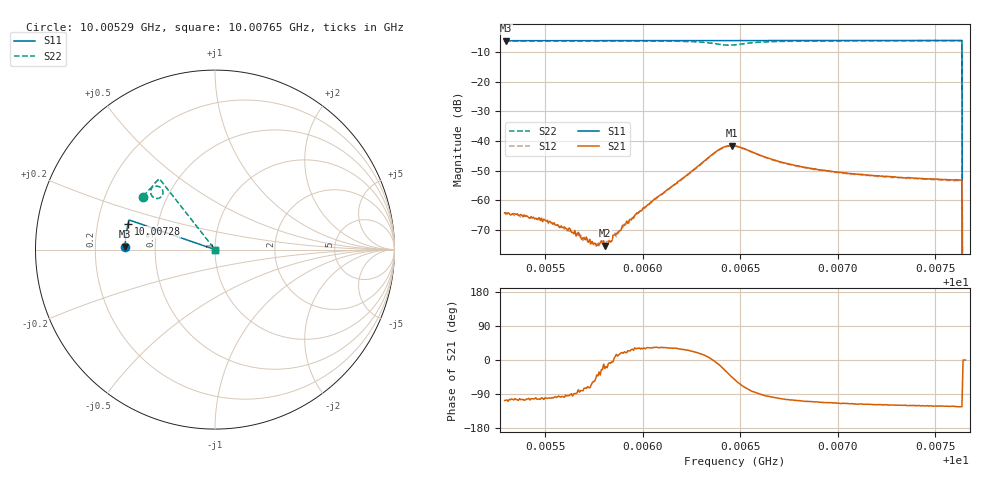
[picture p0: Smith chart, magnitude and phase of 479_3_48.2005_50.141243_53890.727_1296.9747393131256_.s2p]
#  HZ  S  RI  R  50.00
! Rohde & Schwarz Vector Network Analyzer
! Rohde-Schwarz,ZNB20-2Port,1311601062101988,3.16
! Created: UTC 3/20/2024, 11:57:35 AM
! freq[Hz]  re:S11  im:S11  re:S21  im:S21  re:S12  im:S12  re:S22  im:S22
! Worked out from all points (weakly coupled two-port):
!   401 points, 10.00529 GHz to 10.00765 GHz, reference 50 ohm
!   highest |S21| = -41.54 dB at 10.00646 GHz (marker M1); lowest = -75.4 dB at 10.00581 GHz (marker M2)
!   lowest |S11| = -6.0 dB at 10.0053 GHz (marker M3), VSWR 3.00, Z = 16.6 + j0.725 ohm
!   |S11| at or under -10 dB: 10.00764 GHz to end of sweep
!   |S22| runs from - to -6.0 dB; largest |S21 - S12| = 0.00052
!   S11 on the Smith chart (normalised r, x): 10.00529 GHz: 0.33, +0.01; 10.00728 GHz: 0.34, +0.13; 10.00765 GHz: 1.00, +0.00
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1.0005293e10  -0.5004 0.0162  -0.000176 -0.000579  -0.000172 -0.000604  -0.3987 0.2944
1.0005299e10  -0.5003 0.0163  -0.000168 -0.000583  -0.000127 -0.000554  -0.3984 0.2948
1.0005399e10  -0.5004 0.0229  -0.000141 -0.000513  -7.99e-05 -0.000541  -0.3945 0.3005
1.0005535e10  -0.5001 0.0319  -6.68e-05 -0.000409  -6.42e-05 -0.000401  -0.3887 0.3087
1.0005617e10  -0.4999 0.0373  -1.76e-05 -0.000305  5.77e-05 -0.000297  -0.3848 0.3137
1.0005688e10  -0.4997 0.0417  3.52e-05 -0.000213  4.38e-05 -0.000229  -0.3815 0.3181
1.0005753e10  -0.4995 0.0459  0.000103 -0.000156  0.000117 -0.000142  -0.3781 0.322
1.0005806e10  -0.4992 0.0494  0.000157 -6.43e-05  0.00016 -5.14e-05  -0.3752 0.3254
1.0005818e10  -0.4992 0.0502  0.000166 -6.1e-05  0.000197 -3.47e-05  -0.3745 0.3262
1.0005836e10  -0.4991 0.0515  0.000191 -2.94e-05  0.000203 -8.47e-06  -0.3735 0.3274
1.0005906e10  -0.4988 0.0561  0.000346 0.00014  0.000355 0.00017  -0.3692 0.3319
1.0006084e10  -0.4977 0.0674  0.000991 0.000629  0.000923 0.000683  -0.3548 0.3439
1.0006379e10  -0.4948 0.0863  0.00669 -0.000857  0.00655 -0.000484  -0.2923 0.3316
1.000642e10  -0.4942 0.0887  0.00718 -0.00349  0.00715 -0.00308  -0.2915 0.3071
1.0006455e10  -0.4939 0.0906  0.006 -0.00584  0.0062 -0.00538  -0.3058 0.2893
1.0006473e10  -0.4939 0.0916  0.00498 -0.00657  0.00526 -0.0062  -0.3163 0.2853
1.0006691e10  -0.4921 0.1058  -0.000839 -0.00448  -0.00062 -0.00445  -0.3578 0.3285
1.0006868e10  -0.49 0.117  -0.00117 -0.00322  -0.00101 -0.00321  -0.35 0.3496
1.0007264e10  -0.4842 0.142  -0.00119 -0.00219  -0.00105 -0.00219  -0.3292 0.3764
1.0007281e10  -0.4839 0.143  -0.00118 -0.00218  -0.00105 -0.00214  -0.3283 0.3774
1.0007624e10  -0.4779 0.1643  -0.00119 -0.00181  -0.00108 -0.00182  -0.3108 0.3947
1.0007653e10  0 0  0 0  0 0  0 0
